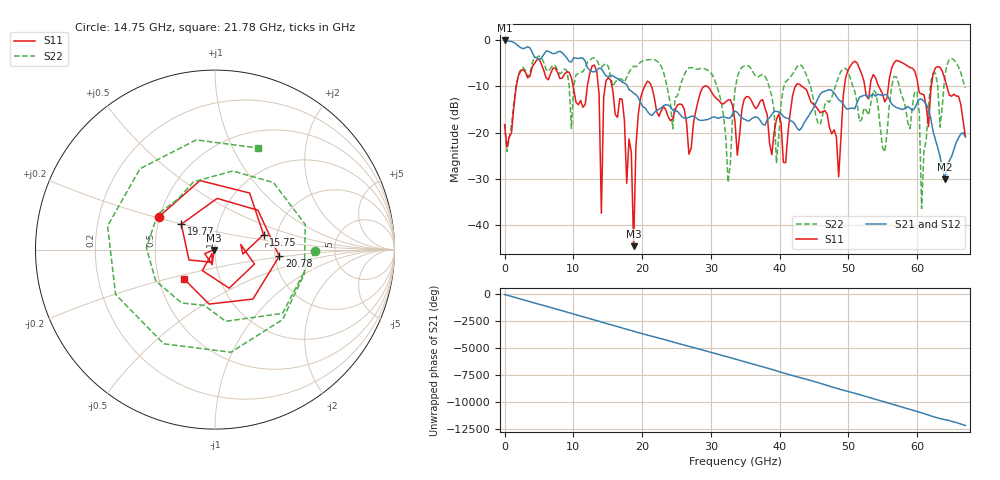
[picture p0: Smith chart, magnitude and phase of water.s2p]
!Keysight Technologies,N5247B,US55470547,A.17.35.10
!Date: Thursday, May 02, 2024 13:52:53
!Correction: S11(C  2-Port  )
!S21(C  2-Port  )
!S12(C  2-Port  )
!S22(C  2-Port  )
!S2P File: Measurements: S11, S21, S12, S22:
# Hz S  dB  R 50
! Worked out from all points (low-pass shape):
!   201 points, 10 MHz to 67 GHz, reference 50 ohm
!   highest |S21| = -0.08 dB at 10 MHz (marker M1); lowest = -30.1 dB at 63.99 GHz (marker M2)
!   |S21| within 3 dB of the highest: start of sweep to 4.161 GHz; 5.718 GHz to 8.607 GHz (2.889 GHz wide, 40.3 % of centre)
!   lowest |S11| = -44.5 dB at 18.77 GHz (marker M3), VSWR 1.01, Z = 49.4 - j0.19 ohm
!   |S11| at or under -10 dB: 21.36 GHz to 29.04 GHz (7.68 GHz wide, 30.5 % of centre); 29.5 GHz to 42.29 GHz (12.8 GHz wide, 35.6 % of centre); 43.25 GHz to 49.42 GHz (6.167 GHz wide, 13.3 % of centre)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
!   |S22| runs from -36.4 to -3.4 dB; largest |S21 - S12| = 0.0025
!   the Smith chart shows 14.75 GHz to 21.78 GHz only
!   S11 on the Smith chart (normalised r, x): 14.75 GHz: 0.49, +0.21; 15.75 GHz: 1.71, +0.31; 19.77 GHz: 0.66, +0.20; 20.78 GHz: 2.10, -0.18; 21.78 GHz: 0.67, -0.23
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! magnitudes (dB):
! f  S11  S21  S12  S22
! 10 MHz  -18.2  -0.1  -0.1  -18.2
! 11.4 GHz  -14.5  -3.9  -3.9  -6.8
! 13.41 GHz  -6.8  -6.5  -6.5  -4.4
! 14.08 GHz  -37.4  -6.2  -6.2  -5.9
! 14.75 GHz  -8.8  -7.7  -7.7  -5.1
! 15.75 GHz  -11.0  -7.7  -7.7  -10.0
! 18.77 GHz  -44.5  -11.5  -11.5  -5.6
! 19.77 GHz  -12.6  -13.5  -13.5  -4.7
! 20.78 GHz  -8.9  -15.4  -15.4  -4.3
! 21.78 GHz  -12.5  -15.6  -15.6  -4.2
! 22.45 GHz  -16.4  -14.9  -14.9  -4.9
! 30.16 GHz  -11.4  -16.7  -16.7  -7.4
! 32.5 GHz  -13.0  -16.9  -16.9  -30.7
! 33.51 GHz  -17.6  -15.3  -15.3  -10.7
! 44.89 GHz  -13.9  -14.8  -14.7  -12.7
! 48.58 GHz  -29.5  -12.9  -12.9  -7.9
! 49.92 GHz  -6.5  -14.9  -14.9  -6.7
! 55.95 GHz  -8.3  -12.8  -12.8  -13.9
! 59.97 GHz  -8.4  -13.6  -13.6  -11.2
! 60.64 GHz  -11.7  -12.7  -12.7  -36.4
! 63.99 GHz  -8.3  -30.1  -30.1  -8.1
! 67 GHz  -20.8  -21.0  -20.9  -10.3
